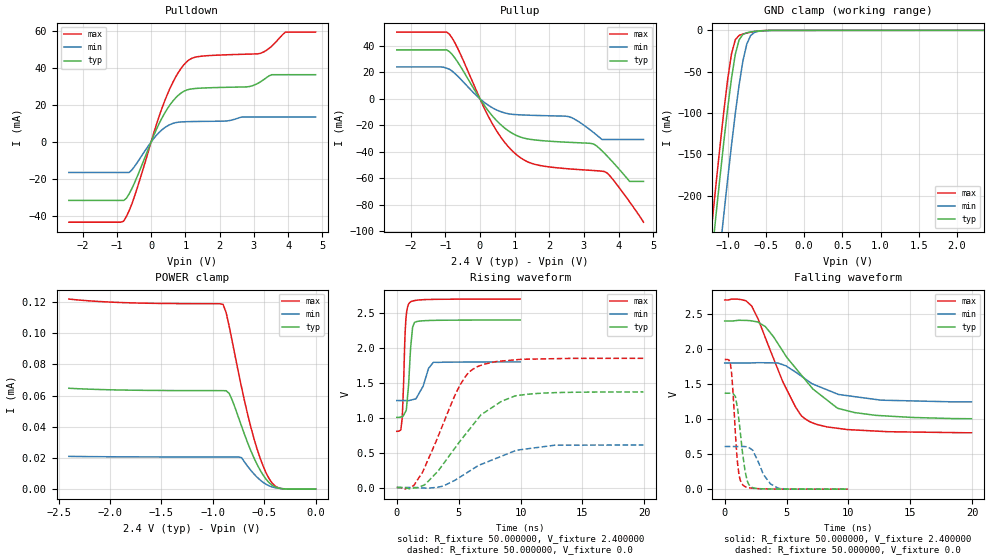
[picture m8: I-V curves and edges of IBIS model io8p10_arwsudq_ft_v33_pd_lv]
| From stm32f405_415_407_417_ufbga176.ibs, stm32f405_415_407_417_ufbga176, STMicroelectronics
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|   Model io8p10_arwsudq_ft_v33_pd_lv
[Model]  io8p10_arwsudq_ft_v33_pd_lv
Model_type I/O
Polarity   Non-Inverting
Enable   Active-Low
Vinl =   0.720000V
Vinh =   1.680000V
Vmeas =  1.200000V
Cref =   40.000000pF
Rref =   100.000000M
Vref =   0.0V
C_comp   2.828400pF   2.771400pF   2.910300pF
[Temperature Range]   25.000000   0.125000k   -40.000000
[Pullup Reference]   2.400000V   1.800000V   2.700000V
[Pulldown Reference]   0.0V   0.0V   0.0V
[POWER Clamp Reference]   2.400000V   1.800000V   2.700000V
[GND Clamp Reference]   0.0V   0.0V   0.0V
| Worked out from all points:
|   slope of the pulldown table from 0 to 0.36 V, typ, clamps not added: 25 ohm
|   slope of the pullup table from 0 to 0.36 V, typ, clamps not added: 27.7 ohm
|   GND clamp passes 1 mA (typ) near -0.62 V on its own axis
|   rising waveform, R_fixture 50.000000, V_fixture 2.400000: 20-80 % time 323ps typ, 715ps min, 223ps max; typ from 1 V to 2.4 V
|   rising waveform, R_fixture 50.000000, V_fixture 0.0: 20-80 % time 3.77ns typ, 4.14ns min, 2.7ns max; typ from 0 V to 1.37 V
|   falling waveform, R_fixture 50.000000, V_fixture 2.400000: 20-80 % time 4.04ns typ, 3.55ns min, 2.76ns max; typ from 2.4 V to 1 V
|   falling waveform, R_fixture 50.000000, V_fixture 0.0: 20-80 % time 552ps typ, 1.05ns min, 408ps max; typ from 1.37 V to 0 V
[Pulldown]
|Voltage   I(typ)   I(min)   I(max)
-2.4V     -31.66mA   -16.51mA   -43.43mA
-800mV    -31.66mA   -16.51mA   -42.86mA
-480mV    -21.98mA   -13.17mA   -29.2mA
80mV      3.63mA     1.966mA    5.014mA
480mV     18.15mA    8.738mA    26.02mA
800mV     25.38mA    10.72mA    37.77mA
1.12V     28.53mA    11.02mA    44.6mA
2.8V      29.84mA    13.48mA    47.53mA
3.2V      32.65mA    13.48mA    48.04mA
3.52V     36.42mA    13.48mA    51.83mA
3.92V     36.42mA    13.48mA    59.48mA
4.8V      36.42mA    13.48mA    59.48mA
[Pullup]
|Voltage   I(typ)   I(min)   I(max)
-2.4V     36.9mA     24.04mA    50.34mA
-960mV    36.9mA     23.05mA    50.34mA
-640mV    27.65mA    17.04mA    37.98mA
320mV     -11.75mA   -6.207mA   -17.08mA
640mV     -20.52mA   -10.1mA    -30.35mA
960mV     -26.47mA   -11.82mA   -40.02mA
1.52V     -30.88mA   -12.51mA   -49.05mA
2.56V     -32.88mA   -13.49mA   -52.9mA
3.28V     -34.2mA    -25.51mA   -54.18mA
3.6V      -41.34mA   -30.76mA   -55mA
4.32V     -62.43mA   -30.76mA   -77.88mA
4.72V     -62.43mA   -30.76mA   -93.2mA
[GND_clamp]
|Voltage   I(typ)   I(min)   I(max)
-2.4V     -1.428A    -1.51A     -1.4A
-1.2V     -266.4mA   -356.3mA   -229.4mA
-1.15V    -221.3mA   -311mA     -184.1mA
-1.1V     -177.3mA   -266.4mA   -140mA
-1.05V    -134.8mA   -222.7mA   -97.98mA
-950mV    -58.22mA   -139.2mA   -28.55mA
-900mV    -29.04mA   -100.6mA   -11.28mA
-850mV    -11.42mA   -65.77mA   -6.081mA
-750mV    -2.864mA   -16.63mA   -3.193mA
-700mV    -1.925mA   -6.327mA   -2.195mA
-600mV    -761.3uA   -1.176mA   -751.9uA
2.35V     58.09uA    37.92uA    67.25uA
[POWER_clamp]
|Voltage   I(typ)   I(min)   I(max)
-2.4V     64.71uA    21.03uA    121.9uA
-1.86V    63.55uA    20.74uA    119.6uA
-900mV    63.18uA    20.63uA    118.5uA
-870mV    63.14uA    20.63uA    113.2uA
-840mV    61.36uA    20.62uA    104.3uA
-720mV    40.37uA    20.18uA    65.28uA
-630mV    24.69uA    12.08uA    39.85uA
-540mV    12.26uA    5.907uA    20uA
-480mV    6.236uA    3.061uA    10.23uA
-420mV    2.4uA      1.365uA    3.726uA
-360mV    667.9nA    564nA      839.6nA
0V        0A         0A         0A
[Ramp]
| variable   typ   min   max
dV/dt_r  0.82152/3.77198n   0.36526/4.13997n   1.11090/2.69800n
dV/dt_f  0.83268/4.02902n   0.33432/3.60770n   1.13614/2.75462n
R_load = 50.000000
[Rising Waveform]
R_fixture= 50.000000
V_fixture= 2.400000
V_fixture_min= 1.800000
V_fixture_max= 2.700000
|time   V(typ)   V(min)   V(max)
0s        1.005V     1.245V     804.5mV
320.3ps   1.01V      1.245V     823mV
440.4ps   1.015V     1.245V     996mV
720.7ps   1.09V      1.245V     2.367V
940.9ps   1.443V     1.245V     2.62V
1.041ns   1.754V     1.248V     2.648V
1.281ns   2.297V     1.259V     2.671V
1.481ns   2.368V     1.267V     2.679V
2.963ns   2.393V     1.793V     2.694V
9.97ns    2.399V     1.799V     2.699V
[Rising Waveform]
R_fixture= 50.000000
V_fixture= 0.0
V_fixture_min= 0.0
V_fixture_max= 0.0
|time   V(typ)   V(min)   V(max)
0s        76.6uV     35.13uV    232.4uV
1.361ns   -8.148mV   -490.5uV   26.83mV
2.082ns   25.49mV    -6.756mV   218.5mV
4.765ns   580.6mV    110.6mV    1.346V
5.566ns   765mV      200.1mV    1.594V
6.326ns   934.7mV    285.2mV    1.713V
8.448ns   1.233V     447.3mV    1.811V
9.57ns    1.312V     527.1mV    1.828V
12.77ns   1.358V     606mV      1.845V
19.94ns   1.369V     608.5mV    1.85V
[Falling Waveform]
R_fixture= 50.000000
V_fixture= 2.400000
V_fixture_min= 1.800000
V_fixture_max= 2.700000
|time   V(typ)   V(min)   V(max)
0s        2.399V     1.799V     2.699V
1.682ns   2.408V     1.799V     2.689V
2.202ns   2.4V       1.801V     2.607V
3.283ns   2.319V     1.803V     2.161V
4.725ns   1.961V     1.774V     1.523V
6.166ns   1.634V     1.616V     1.053V
6.847ns   1.489V     1.53V      965.5mV
9.129ns   1.154V     1.356V     868.2mV
10.49ns   1.093V     1.32V      844.7mV
19.94ns   1.005V     1.245V     804.5mV
[Falling Waveform]
R_fixture= 50.000000
V_fixture= 0.0
V_fixture_min= 0.0
V_fixture_max= 0.0
|time   V(typ)   V(min)   V(max)
0s        1.369V     608.5mV    1.85V
460.5ps   1.37V      608.4mV    1.789V
660.7ps   1.365V     608.3mV    1.411V
1.041ns   1.152V     608mV      368mV
1.481ns   467.9mV    609.1mV    57.69mV
1.822ns   120mV      605mV      26.12mV
2.282ns   20.12mV    548.2mV    13.09mV
3.143ns   4.546mV    206.3mV    4.902mV
4.364ns   1.707mV    10.24mV    1.639mV
9.97ns    76.6uV     35.13uV    232.4uV
